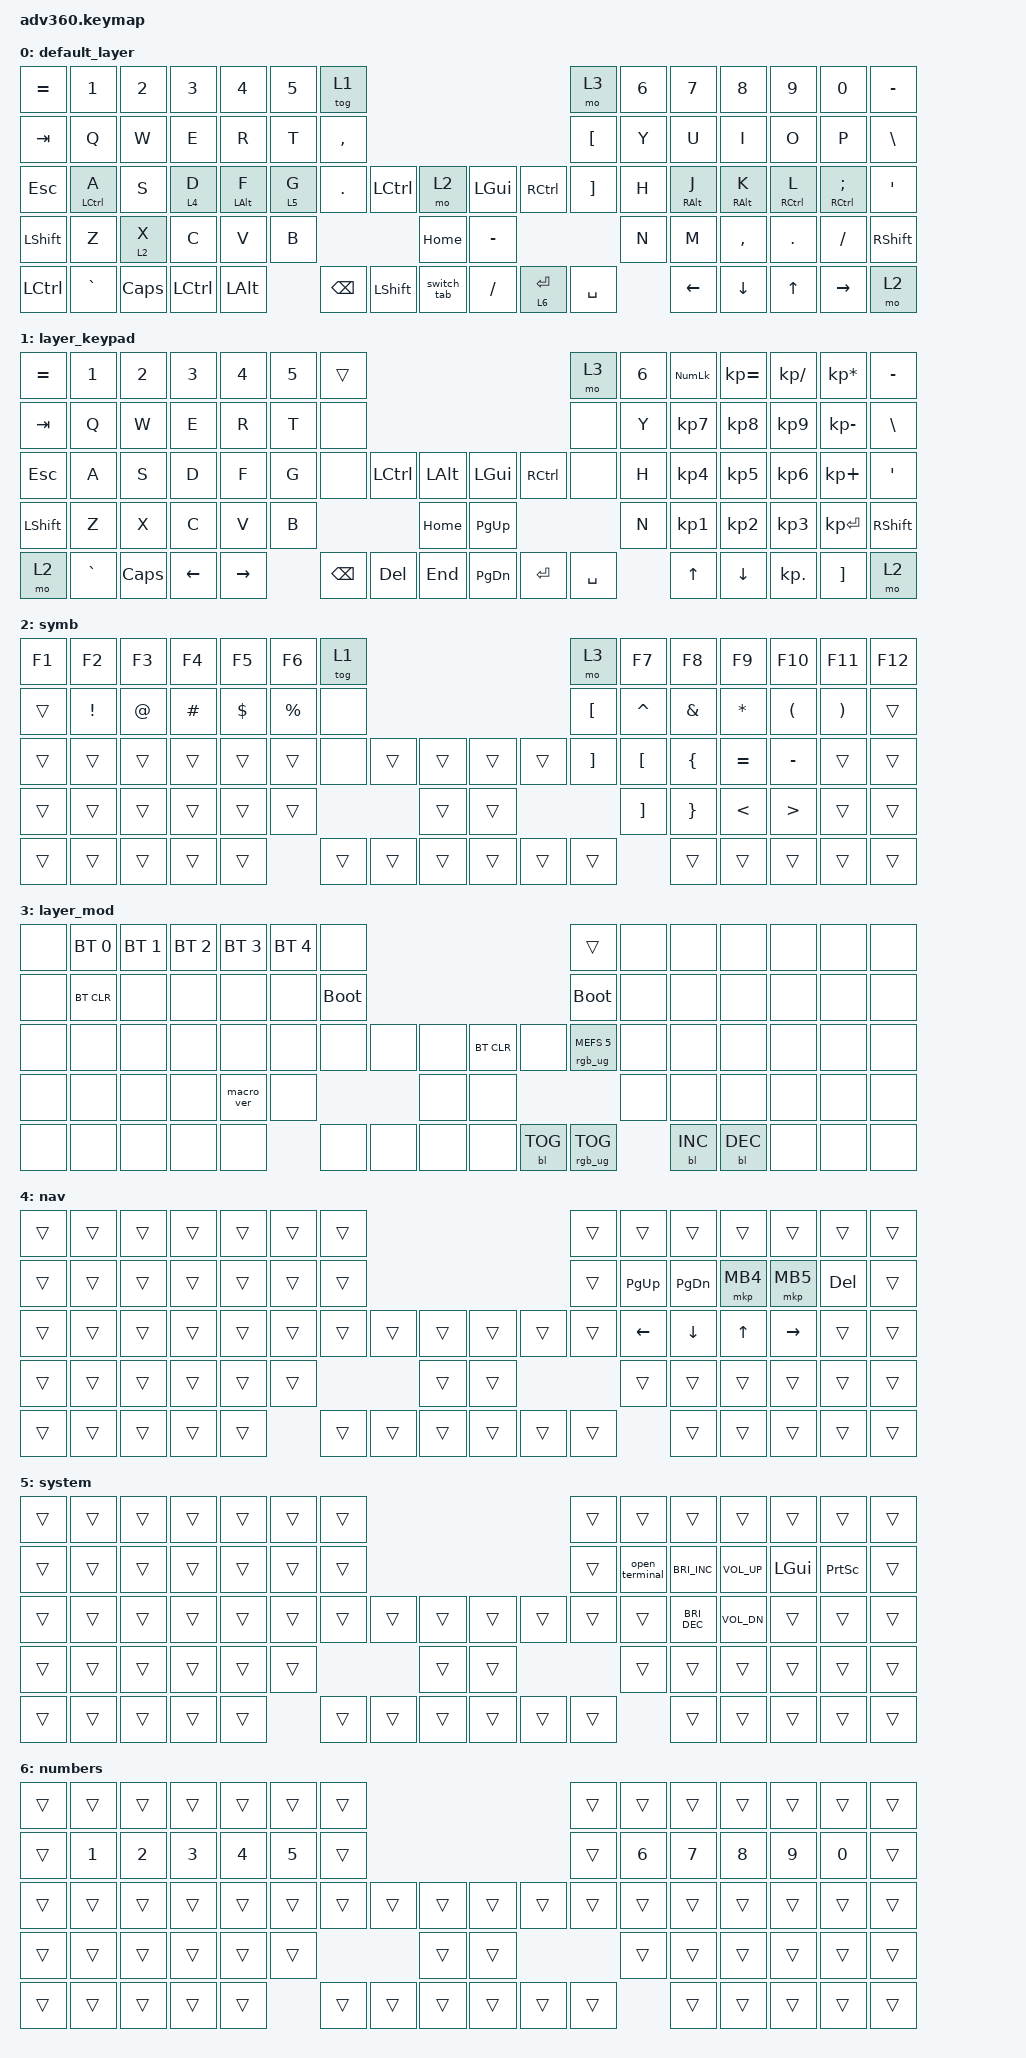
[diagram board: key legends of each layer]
/*
 * Copyright (c) 2020 The ZMK Contributors
 *
 * SPDX-License-Identifier: MIT
 */
/* THIS FILE WAS GENERATED!
 *
 * This file was generated automatically. You may or may not want to
 * edit it directly.
 */

#include <behaviors.dtsi>
#include <dt-bindings/zmk/backlight.h>
#include <dt-bindings/zmk/bt.h>
#include <dt-bindings/zmk/keys.h>
#include <dt-bindings/zmk/keys.h>
#include <dt-bindings/zmk/mouse.h>
#include <dt-bindings/zmk/rgb.h>

/ {
    behaviors {
        #include "macros.dtsi"
    #include "version.dtsi"

        hm: homerow_mods {
            compatible = "zmk,behavior-hold-tap";
            label = "HOMEROW_MODS";
            #binding-cells = <2>;
            tapping-term-ms = <200>;
            quick_tap_ms = <175>;
            flavor = "tap-preferred";
            bindings = <&kp>, <&kp>;
        };

        layer_hold_switch: layer_hold_switch {
            compatible = "zmk,behavior-hold-tap";
            label = "LAYER_HOLD_SWITCH";
            bindings = <&mo>, <&kp>;

            #binding-cells = <2>;
            tapping-term-ms = <150>;
            flavor = "balanced";
        };
    };

    macros {
        switch_tab: switch_tab {
            compatible = "zmk,behavior-macro";
            #binding-cells = <0>;
            bindings = <&sk LEFT_ALT &kp GRAVE>, <&macro_press>;

            label = "SWITCH_TAB";
        };

        open_terminal: open_terminal {
            compatible = "zmk,behavior-macro";
            #binding-cells = <0>;
            bindings =
                <&kt LCTRL &kt LALT &kp T &kt LCTRL &kt LALT>,
                <&macro_release>;

            label = "OPEN_TERMINAL";
        };
    };

    keymap {
        compatible = "zmk,keymap";

        default_layer {
            bindings = <
&kp EQUAL  &kp N1       &kp N2                  &kp N3                  &kp N4      &kp N5                  &tog 1                                                                            &mo 3              &kp N6  &kp N7      &kp N8      &kp N9       &kp N0          &kp MINUS
&kp TAB    &kp Q        &kp W                   &kp E                   &kp R       &kp T                   &kp COMMA                                                                         &kp LEFT_BRACKET   &kp Y   &kp U       &kp I       &kp O        &kp P           &kp BSLH
&kp ESC    &hm LCTRL A  &kp S                   &layer_hold_switch 4 D  &hm LALT F  &layer_hold_switch 5 G  &kp DOT        &kp LCTRL  &mo 2            &kp LGUI   &kp RCTRL                   &kp RIGHT_BRACKET  &kp H   &hm RALT J  &hm RALT K  &hm RCTRL L  &hm RCTRL SEMI  &kp SQT
&kp LSHFT  &kp Z        &layer_hold_switch 2 X  &kp C                   &kp V       &kp B                                             &kp HOME         &kp MINUS                                                 &kp N   &kp M       &kp COMMA   &kp DOT      &kp SLASH       &kp RSHFT
&kp LCTRL  &kp GRAVE    &kp CAPS                &kp LCTRL               &kp LALT                            &kp BACKSPACE  &kp LSHFT  &switch_tab      &kp FSLH   &layer_hold_switch 6 ENTER  &kp SPACE                  &kp LEFT    &kp DOWN    &kp UP       &kp RIGHT       &mo 2
            >;
        };

        layer_keypad {
            bindings = <
&kp EQUAL  &kp N1     &kp N2    &kp N3    &kp N4     &kp N5  &trans                                                   &mo 3      &kp N6  &kp KP_NUM  &kp KP_EQUAL  &kp KP_DIVIDE  &kp KP_MULTIPLY  &kp MINUS
&kp TAB    &kp Q      &kp W     &kp E     &kp R      &kp T   &none                                                    &none      &kp Y   &kp KP_N7   &kp KP_N8     &kp KP_N9      &kp KP_MINUS     &kp BSLH
&kp ESC    &kp A      &kp S     &kp D     &kp F      &kp G   &none     &kp LCTRL  &kp LALT      &kp LGUI   &kp RCTRL  &none      &kp H   &kp KP_N4   &kp KP_N5     &kp KP_N6      &kp KP_PLUS      &kp SQT
&kp LSHFT  &kp Z      &kp X     &kp C     &kp V      &kp B                        &kp HOME      &kp PG_UP                        &kp N   &kp KP_N1   &kp KP_N2     &kp KP_N3      &kp KP_ENTER     &kp RSHFT
&mo 2      &kp GRAVE  &kp CAPS  &kp LEFT  &kp RIGHT          &kp BSPC  &kp DEL    &kp END       &kp PG_DN  &kp ENTER  &kp SPACE          &kp UP      &kp DOWN      &kp KP_DOT     &kp RBKT         &mo 2
            >;
        };

        symb {
            bindings = <
&kp F1  &kp F2           &kp F3       &kp F4    &kp F5      &kp F6       &tog 1                                      &mo 3             &kp F7             &kp F8           &kp F9         &kp F10               &kp F11                &kp F12
&trans  &kp EXCLAMATION  &kp AT_SIGN  &kp HASH  &kp DOLLAR  &kp PERCENT  &none                                       &kp LEFT_BRACKET  &kp CARET          &kp AMPERSAND    &kp ASTRK      &kp LEFT_PARENTHESIS  &kp RIGHT_PARENTHESIS  &trans
&trans  &trans           &trans       &trans    &trans      &trans       &none   &trans  &trans      &trans  &trans  &kp RBKT          &kp LEFT_BRACKET   &kp LEFT_BRACE   &kp EQUAL      &kp MINUS             &trans                 &trans
&trans  &trans           &trans       &trans    &trans      &trans                       &trans      &trans                            &kp RIGHT_BRACKET  &kp RIGHT_BRACE  &kp LESS_THAN  &kp GREATER_THAN      &trans                 &trans
&trans  &trans           &trans       &trans    &trans                   &trans  &trans  &trans      &trans  &trans  &trans                               &trans           &trans         &trans                &trans                 &trans
            >;
        };

        layer_mod {
            bindings = <
&none  &bt BT_SEL 0  &bt BT_SEL 1  &bt BT_SEL 2  &bt BT_SEL 3  &bt BT_SEL 4  &none                                                  &trans                  &none  &none       &none       &none  &none  &none
&none  &bt BT_CLR    &none         &none         &none         &none         &bootloader                                            &bootloader             &none  &none       &none       &none  &none  &none
&none  &none         &none         &none         &none         &none         &none        &none  &none      &bt BT_CLR  &none       &rgb_ug RGB_MEFS_CMD 5  &none  &none       &none       &none  &none  &none
&none  &none         &none         &none         &macro_ver    &none                             &none      &none                                           &none  &none       &none       &none  &none  &none
&none  &none         &none         &none         &none                       &none        &none  &none      &none       &bl BL_TOG  &rgb_ug RGB_TOG                &bl BL_INC  &bl BL_DEC  &none  &none  &none
            >;
        };

        nav {
            bindings = <
&trans  &trans  &trans  &trans  &trans  &trans  &trans                                      &trans  &trans     &trans     &trans    &trans     &trans   &trans
&trans  &trans  &trans  &trans  &trans  &trans  &trans                                      &trans  &kp PG_UP  &kp PG_DN  &mkp MB4  &mkp MB5   &kp DEL  &trans
&trans  &trans  &trans  &trans  &trans  &trans  &trans  &trans  &trans      &trans  &trans  &trans  &kp LEFT   &kp DOWN   &kp UP    &kp RIGHT  &trans   &trans
&trans  &trans  &trans  &trans  &trans  &trans                  &trans      &trans                  &trans     &trans     &trans    &trans     &trans   &trans
&trans  &trans  &trans  &trans  &trans          &trans  &trans  &trans      &trans  &trans  &trans             &trans     &trans    &trans     &trans   &trans
            >;
        };

        system {
            bindings = <
&trans  &trans  &trans  &trans  &trans  &trans  &trans                                      &trans  &trans          &trans                &trans        &trans    &trans           &trans
&trans  &trans  &trans  &trans  &trans  &trans  &trans                                      &trans  &open_terminal  &kp C_BRIGHTNESS_INC  &kp C_VOL_UP  &kp LGUI  &kp PRINTSCREEN  &trans
&trans  &trans  &trans  &trans  &trans  &trans  &trans  &trans  &trans      &trans  &trans  &trans  &trans          &kp C_BRIGHTNESS_DEC  &kp C_VOL_DN  &trans    &trans           &trans
&trans  &trans  &trans  &trans  &trans  &trans                  &trans      &trans                  &trans          &trans                &trans        &trans    &trans           &trans
&trans  &trans  &trans  &trans  &trans          &trans  &trans  &trans      &trans  &trans  &trans                  &trans                &trans        &trans    &trans           &trans
            >;
        };

        numbers {
            bindings = <
&trans  &trans        &trans        &trans        &trans        &trans  &trans                                      &trans  &trans        &trans  &trans  &trans  &trans  &trans
&trans  &kp NUMBER_1  &kp NUMBER_2  &kp NUMBER_3  &kp NUMBER_4  &kp N5  &trans                                      &trans  &kp NUMBER_6  &kp N7  &kp N8  &kp N9  &kp N0  &trans
&trans  &trans        &trans        &trans        &trans        &trans  &trans  &trans  &trans      &trans  &trans  &trans  &trans        &trans  &trans  &trans  &trans  &trans
&trans  &trans        &trans        &trans        &trans        &trans                  &trans      &trans                  &trans        &trans  &trans  &trans  &trans  &trans
&trans  &trans        &trans        &trans        &trans                &trans  &trans  &trans      &trans  &trans  &trans                &trans  &trans  &trans  &trans  &trans
            >;
        };
    };
};
